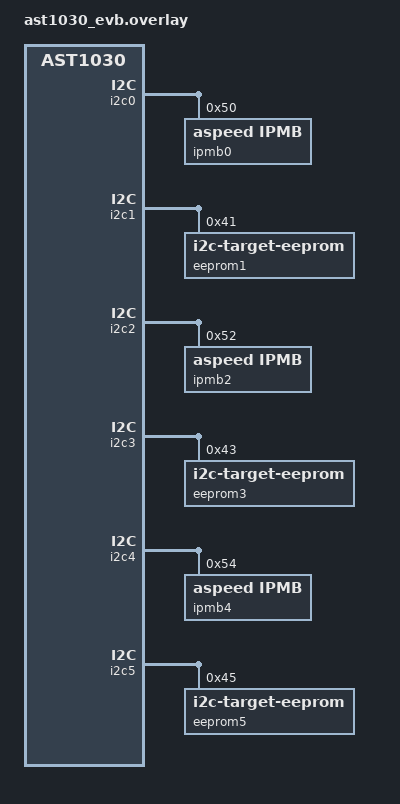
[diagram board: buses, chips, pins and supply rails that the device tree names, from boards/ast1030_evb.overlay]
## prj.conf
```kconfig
CONFIG_ZTEST=y
CONFIG_I2C=y
CONFIG_I2C_ASPEED=y
CONFIG_I2C_TARGET=y
CONFIG_I2C_EEPROM_TARGET=y
CONFIG_I2C_IPMB_TARGET=y
CONFIG_TEST_RANDOM_GENERATOR=y
CONFIG_HWINFO=y
```

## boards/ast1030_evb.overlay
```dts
/*
 * Copyright (c) 2026 Aspeed Technology Inc.
 *
 * SPDX-License-Identifier: Apache-2.0
 */

/*
 * Bus pairing mirrors the old CI test: i2c0/i2c1, i2c2/i2c3, i2c4/i2c5 are
 * wired together on the EVB. Each pair carries one IPMB target (on the
 * even bus) and one EEPROM target (on the odd bus), so either half can
 * act as bus master for the other's target.
 */

&i2c0 {
	status = "okay";

	ipmb0: ipmb@50 {
		compatible = "aspeed,ipmb";
		reg = <0x50>;
		size = <5>;
	};
};

&i2c1 {
	status = "okay";

	eeprom1: eeprom@41 {
		compatible = "zephyr,i2c-target-eeprom";
		reg = <0x41>;
		size = <256>;
	};
};

&i2c2 {
	status = "okay";

	ipmb2: ipmb@52 {
		compatible = "aspeed,ipmb";
		reg = <0x52>;
		size = <5>;
	};
};

&i2c3 {
	status = "okay";

	eeprom3: eeprom@43 {
		compatible = "zephyr,i2c-target-eeprom";
		reg = <0x43>;
		size = <256>;
	};
};

&i2c4 {
	status = "okay";

	ipmb4: ipmb@54 {
		compatible = "aspeed,ipmb";
		reg = <0x54>;
		size = <5>;
	};
};

&i2c5 {
	status = "okay";

	eeprom5: eeprom@45 {
		compatible = "zephyr,i2c-target-eeprom";
		reg = <0x45>;
		size = <256>;
	};
};

/*
 * Provides slot0_partition, referenced by the board dts's
 * zephyr,code-partition chosen node (boards/aspeed/ast1030_evb/ast1030_evb.dts)
 * which the shared board dts itself never defines. Supplied here instead of
 * editing the shared board dts, following the same per-app overlay pattern
 * used by samples/boards/ast1030_evb/demo/boards/ast1030_evb.overlay.
 */
&fmc_cs0 {
	partitions {
		compatible = "fixed-partitions";
		#address-cells = <1>;
		#size-cells = <1>;
		slot0_partition: partition@0 {
			label = "image-0";
			reg = <0x0 0x100000>;
		};
	};
};
```

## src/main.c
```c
/*
 * Copyright (c) 2026 Aspeed Technology Inc.
 *
 * SPDX-License-Identifier: Apache-2.0
 */

#include <string.h>

#include <zephyr/device.h>
#include <zephyr/drivers/i2c.h>
#include <zephyr/drivers/i2c/target/eeprom.h>
#include <zephyr/drivers/i2c/target/ipmb.h>
#include <zephyr/random/random.h>
#include <zephyr/sys/util.h>
#include "ast_test.h"

#define DATA_COUNT 0x20
#define RETRY 0x5

static const uint32_t i2c_speed[] = {
	I2C_SPEED_STANDARD,
	I2C_SPEED_FAST,
	I2C_SPEED_FAST_PLUS,
};

struct i2c_target_pair {
	const struct device *master;
	const struct device *target;
	uint8_t target_addr;
};

static const struct i2c_target_pair eeprom_pairs[] = {
	{DEVICE_DT_GET(DT_NODELABEL(i2c0)), DEVICE_DT_GET(DT_NODELABEL(eeprom1)), 0x41},
	{DEVICE_DT_GET(DT_NODELABEL(i2c2)), DEVICE_DT_GET(DT_NODELABEL(eeprom3)), 0x43},
	{DEVICE_DT_GET(DT_NODELABEL(i2c4)), DEVICE_DT_GET(DT_NODELABEL(eeprom5)), 0x45},
};

static const struct i2c_target_pair ipmb_pairs[] = {
	{DEVICE_DT_GET(DT_NODELABEL(i2c1)), DEVICE_DT_GET(DT_NODELABEL(ipmb0)), 0x50},
	{DEVICE_DT_GET(DT_NODELABEL(i2c3)), DEVICE_DT_GET(DT_NODELABEL(ipmb2)), 0x52},
	{DEVICE_DT_GET(DT_NODELABEL(i2c5)), DEVICE_DT_GET(DT_NODELABEL(ipmb4)), 0x54},
};

static void prepare_test_data(uint8_t *data, int nbytes)
{
	uint32_t value = sys_rand32_get();
	uint32_t shift;

	for (int i = 0; i < nbytes; i++) {
		shift = (i & 0x3) * 8;
		data[i] = (value >> shift) & 0xff;
		if ((i & 0x3) == 0x3) {
			value = sys_rand32_get();
		}
	}
}

static void test_i2c_target_eeprom(void)
{
	for (int i = 0; i < ARRAY_SIZE(eeprom_pairs); i++) {
		const struct device *master = eeprom_pairs[i].master;
		const struct device *target = eeprom_pairs[i].target;
		uint8_t dev_addr = eeprom_pairs[i].target_addr;
		uint8_t data_s[DATA_COUNT];
		uint8_t data_r[DATA_COUNT];
		uint8_t retry_count = RETRY;
		int result;

		ast_zassert_ok(i2c_configure(master, I2C_MODE_CONTROLLER |
					      I2C_SPEED_SET(i2c_speed[i % 3])),
			       "i2c_configure failed for pair %d", i);

		ast_zassert_ok(i2c_target_driver_register(target),
			       "i2c_target_driver_register failed for pair %d", i);

		prepare_test_data(data_s, DATA_COUNT);

		while (retry_count != 0) {
			result = i2c_burst_write(master, dev_addr, 0, data_s, DATA_COUNT);
			if (result == -ETIMEDOUT) {
				retry_count--;
			} else {
				break;
			}
		}
		ast_zassert_ok(result, "eeprom pair %d write failed: %d", i, result);
		if (result != 0) {
			ast_zassert_ok(i2c_target_driver_unregister(target),
				       "i2c_target_driver_unregister failed for pair %d", i);
			continue;
		}

		retry_count = RETRY;
		while (retry_count != 0) {
			result = i2c_burst_read(master, dev_addr, 0, data_r, DATA_COUNT);
			if (result == -ETIMEDOUT) {
				retry_count--;
			} else {
				break;
			}
		}
		ast_zassert_ok(result, "eeprom pair %d read failed: %d", i, result);
		if (result != 0) {
			ast_zassert_ok(i2c_target_driver_unregister(target),
				       "i2c_target_driver_unregister failed for pair %d", i);
			continue;
		}

		ast_zassert_mem_equal(data_s, data_r, DATA_COUNT, "eeprom pair %d R/W mismatch",
				       i);

		ast_zassert_ok(i2c_target_driver_unregister(target),
			       "i2c_target_driver_unregister failed for pair %d", i);
	}
}

static void test_i2c_target_ipmb(void)
{
	for (int i = 0; i < ARRAY_SIZE(ipmb_pairs); i++) {
		const struct device *master = ipmb_pairs[i].master;
		const struct device *target = ipmb_pairs[i].target;
		uint8_t dev_addr = ipmb_pairs[i].target_addr;
		uint8_t data_s[DATA_COUNT];
		uint8_t retry_count = RETRY;
		struct ipmb_msg *msg = NULL;
		uint8_t length = 0;
		uint8_t *buf;
		int result;

		ast_zassert_ok(i2c_configure(master, I2C_MODE_CONTROLLER |
					      I2C_SPEED_SET(i2c_speed[i % 3])),
			       "i2c_configure failed for pair %d", i);

		ast_zassert_ok(i2c_target_driver_register(target),
			       "i2c_target_driver_register failed for pair %d", i);

		prepare_test_data(data_s, DATA_COUNT);

		while (retry_count != 0) {
			result = i2c_burst_write(master, dev_addr, 0, data_s, DATA_COUNT);
			if (result == -ETIMEDOUT) {
				retry_count--;
			} else {
				break;
			}
		}
		ast_zassert_ok(result, "ipmb pair %d write failed: %d", i, result);
		if (result != 0) {
			ast_zassert_ok(i2c_target_driver_unregister(target),
				       "i2c_target_driver_unregister failed for pair %d", i);
			continue;
		}

		retry_count = RETRY;
		while (retry_count != 0) {
			result = ipmb_target_read(target, &msg, &length);
			if (result == -ETIMEDOUT) {
				retry_count--;
			} else {
				break;
			}
		}
		ast_zassert_ok(result, "ipmb pair %d read failed: %d", i, result);
		if (result != 0) {
			ast_zassert_ok(i2c_target_driver_unregister(target),
				       "i2c_target_driver_unregister failed for pair %d", i);
			continue;
		}

		ast_zassert_not_null(msg, "ipmb pair %d returned a NULL message", i);
		if (msg == NULL) {
			ast_zassert_ok(i2c_target_driver_unregister(target),
				       "i2c_target_driver_unregister failed for pair %d", i);
			continue;
		}

		ast_zassert_equal(length, DATA_COUNT + 2, "ipmb pair %d length mismatch: %d", i,
				   length);
		if (length != DATA_COUNT + 2) {
			ast_zassert_ok(i2c_target_driver_unregister(target),
				       "i2c_target_driver_unregister failed for pair %d", i);
			continue;
		}

		buf = (uint8_t *)msg;
		ast_zassert_equal(buf[0], dev_addr << 1, "ipmb pair %d device id mismatch: %d", i,
				   buf[0]);

		for (int j = 2; j < length; j++) {
			ast_zassert_equal(data_s[j - 2], buf[j],
					   "ipmb pair %d R/W mismatch at %d", i, j);
		}

		ast_zassert_ok(i2c_target_driver_unregister(target),
			       "i2c_target_driver_unregister failed for pair %d", i);
	}
}

int test_i2c(void)
{
	for (int i = 0; i < ARRAY_SIZE(eeprom_pairs); i++) {
		ast_zassert_true(device_is_ready(eeprom_pairs[i].master),
				  "eeprom pair %d master not ready", i);
		ast_zassert_true(device_is_ready(eeprom_pairs[i].target),
				  "eeprom pair %d target not ready", i);
	}
	for (int i = 0; i < ARRAY_SIZE(ipmb_pairs); i++) {
		ast_zassert_true(device_is_ready(ipmb_pairs[i].master),
				  "ipmb pair %d master not ready", i);
		ast_zassert_true(device_is_ready(ipmb_pairs[i].target),
				  "ipmb pair %d target not ready", i);
	}

	test_i2c_target_eeprom();
	test_i2c_target_ipmb();

	return ast_ztest_result();
}

#if !defined(AST1030_CONCURRENT_ALL)
ZTEST(i2c, test_i2c_all)
{
	zassert_equal(test_i2c(), AST_TEST_PASS, "i2c test failed");
}

ZTEST_SUITE(i2c, NULL, NULL, NULL, NULL, NULL);
#endif
```
